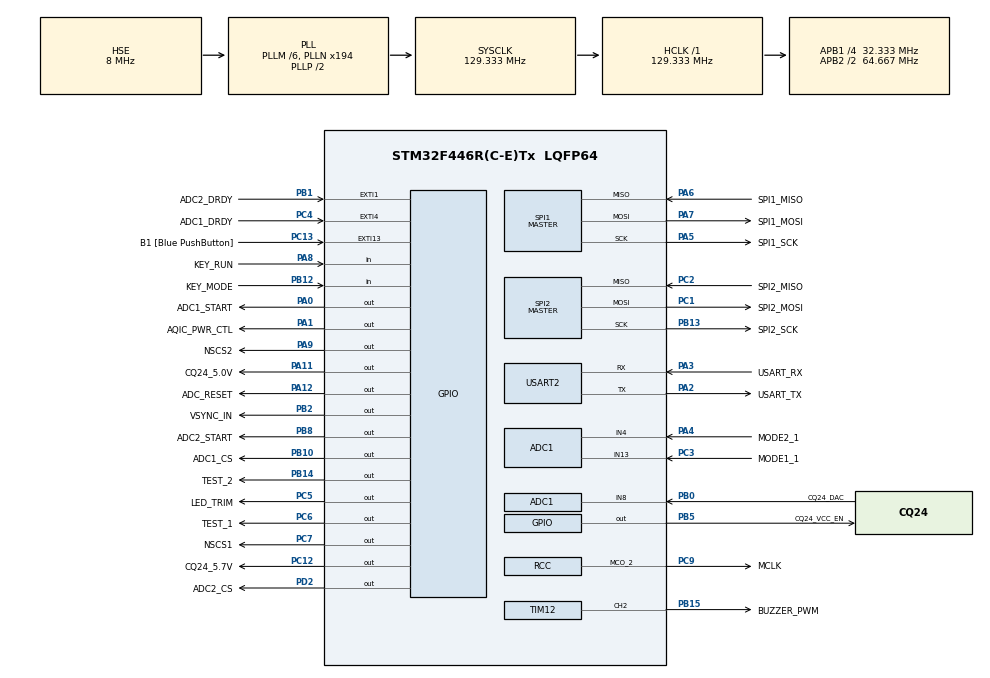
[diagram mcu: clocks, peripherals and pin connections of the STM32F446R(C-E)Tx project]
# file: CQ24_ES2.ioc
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ADC1.Channel-0\#ChannelRegularConversion=ADC_CHANNEL_13
ADC1.Channel-1\#ChannelRegularConversion=ADC_CHANNEL_8
ADC1.Channel-3\#ChannelRegularConversion=ADC_CHANNEL_4
ADC1.NbrOfConversion=3
ADC1.NbrOfConversionFlag=1
ADC1.Rank-0\#ChannelRegularConversion=1
ADC1.Rank-1\#ChannelRegularConversion=2
ADC1.Rank-3\#ChannelRegularConversion=3
ADC1.SamplingTime-0\#ChannelRegularConversion=ADC_SAMPLETIME_3CYCLES
ADC1.SamplingTime-1\#ChannelRegularConversion=ADC_SAMPLETIME_3CYCLES
ADC1.SamplingTime-3\#ChannelRegularConversion=ADC_SAMPLETIME_3CYCLES
ADC1.ScanConvMode=ENABLE
ADC1.master=1
Dma.ADC1.0.Direction=DMA_PERIPH_TO_MEMORY
Dma.ADC1.0.FIFOMode=DMA_FIFOMODE_DISABLE
Dma.ADC1.0.Instance=DMA2_Stream0
Dma.ADC1.0.MemDataAlignment=DMA_MDATAALIGN_HALFWORD
Dma.ADC1.0.MemInc=DMA_MINC_ENABLE
Dma.ADC1.0.Mode=DMA_NORMAL
Dma.ADC1.0.PeriphDataAlignment=DMA_PDATAALIGN_HALFWORD
Dma.ADC1.0.PeriphInc=DMA_PINC_DISABLE
Dma.ADC1.0.Priority=DMA_PRIORITY_LOW
Dma.Request0=ADC1
FREERTOS.INCLUDE_vTaskDelayUntil=1
FREERTOS.Queues01=queue_key_event,16,uint16_t,0,Dynamic,NULL,NULL
FREERTOS.Tasks01=JIG_MAIN,0,512,JigTaskMainTask,Default,NULL,Dynamic,NULL,NULL;KeyDetectTask,-2,128,KeyDetector,Default,NULL,Dynamic,NULL,NULL;KeyHandlerTask,-2,128,KeyHandler,Default,NULL,Dynamic,NULL,NULL;myTaskDebugUart,-2,512,TaskDebugUart,Default,NULL,Dynamic,NULL,NULL
FREERTOS.Timers01=BeepPlayTimer,TimerCallback,osTimerPeriodic,Default,&gt_beep_info,Dynamic,NULL
FREERTOS.configENABLE_FPU=1
FREERTOS.configUSE_TIMERS=1
Mcu.Family=STM32F4
Mcu.Name=STM32F446R(C-E)Tx
Mcu.Package=LQFP64
NVIC.DMA2_Stream0_IRQn=true\:5\:0\:false\:false\:true\:true\:false\:true\:true
NVIC.EXTI15_10_IRQn=true\:5\:0\:false\:false\:true\:true\:true\:true\:true
NVIC.EXTI1_IRQn=true\:5\:0\:false\:false\:true\:true\:true\:true\:true
NVIC.EXTI4_IRQn=true\:5\:0\:false\:false\:true\:true\:true\:true\:true
NVIC.PriorityGroup=NVIC_PRIORITYGROUP_4
NVIC.TIM1_UP_TIM10_IRQn=true\:0\:0\:false\:false\:true\:false\:false\:true\:true
NVIC.TIM2_IRQn=true\:5\:0\:false\:false\:true\:true\:true\:true\:true
NVIC.TIM5_IRQn=true\:5\:0\:false\:false\:true\:true\:true\:true\:true
NVIC.TimeBase=TIM1_UP_TIM10_IRQn
NVIC.TimeBaseIP=TIM1
NVIC.USART2_IRQn=true\:5\:0\:false\:false\:true\:true\:true\:true\:true
PA0-WKUP.GPIO_Label=ADC1_START
PA0-WKUP.Signal=GPIO_Output
PA1.GPIO_Label=AQIC_PWR_CTL
PA1.GPIO_PuPd=GPIO_PULLDOWN
PA1.PinState=GPIO_PIN_RESET
PA1.Signal=GPIO_Output
PA11.GPIO_Label=CQ24_5.0V
PA11.GPIO_PuPd=GPIO_NOPULL
PA11.Signal=GPIO_Output
PA12.GPIO_Label=ADC_RESET
PA12.PinState=GPIO_PIN_SET
PA12.Signal=GPIO_Output
PA13.GPIO_Label=TMS
PA13.Mode=Serial_Wire
PA13.Signal=SYS_JTMS-SWDIO
PA14.GPIO_Label=TCK
PA14.Mode=Serial_Wire
PA14.Signal=SYS_JTCK-SWCLK
PA2.GPIO_Label=USART_TX
PA2.Mode=Asynchronous
PA2.Signal=USART2_TX
PA3.GPIO_Label=USART_RX
PA3.Mode=Asynchronous
PA3.Signal=USART2_RX
PA4.GPIO_Label=MODE2_1
PA4.Signal=ADCx_IN4
PA5.GPIO_Label=SPI1_SCK
PA5.Mode=Full_Duplex_Master
PA5.Signal=SPI1_SCK
PA6.GPIO_Label=SPI1_MISO
PA6.Mode=Full_Duplex_Master
PA6.Signal=SPI1_MISO
PA7.GPIO_Label=SPI1_MOSI
PA7.Mode=Full_Duplex_Master
PA7.Signal=SPI1_MOSI
PA8.GPIO_Label=KEY_RUN
PA8.Signal=GPIO_Input
PA9.GPIO_Label=NSCS2
PA9.PinState=GPIO_PIN_SET
PA9.Signal=GPIO_Output
PB0.GPIO_Label=CQ24_DAC
PB0.Signal=ADCx_IN8
PB1.GPIO_Label=ADC2_DRDY
PB1.GPIO_ModeDefaultEXTI=GPIO_MODE_IT_FALLING
PB1.Signal=GPXTI1
PB10.GPIO_Label=ADC1_CS
PB10.PinState=GPIO_PIN_SET
PB10.Signal=GPIO_Output
PB12.GPIO_Label=KEY_MODE
PB12.Signal=GPIO_Input
PB13.GPIO_Label=SPI2_SCK
PB13.Mode=Full_Duplex_Master
PB13.Signal=SPI2_SCK
PB14.GPIO_Label=TEST_2
PB14.Signal=GPIO_Output
PB15.GPIO_Label=BUZZER_PWM
PB15.Signal=S_TIM12_CH2
PB2.GPIO_Label=VSYNC_IN
PB2.Signal=GPIO_Output
PB3.GPIO_Label=SWO
PB3.Signal=SYS_JTDO-SWO
PB5.GPIO_Label=CQ24_VCC_EN
PB5.GPIO_PuPd=GPIO_NOPULL
PB5.PinState=GPIO_PIN_SET
PB5.Signal=GPIO_Output
PB8.GPIO_Label=ADC2_START
PB8.Signal=GPIO_Output
PC1.GPIO_Label=SPI2_MOSI
PC1.Mode=Full_Duplex_Master
PC1.Signal=SPI2_MOSI
PC12.GPIO_Label=CQ24_5.7V
PC12.GPIO_PuPd=GPIO_NOPULL
PC12.Signal=GPIO_Output
PC13.GPIO_Label=B1 [Blue PushButton]
PC13.GPIO_ModeDefaultEXTI=GPIO_MODE_IT_FALLING
PC13.Signal=GPXTI13
PC14-OSC32_IN.Mode=LSE-External-Oscillator
PC14-OSC32_IN.Signal=RCC_OSC32_IN
PC15-OSC32_OUT.Mode=LSE-External-Oscillator
PC15-OSC32_OUT.Signal=RCC_OSC32_OUT
PC2.GPIO_Label=SPI2_MISO
PC2.Mode=Full_Duplex_Master
PC2.Signal=SPI2_MISO
PC3.GPIO_Label=MODE1_1
PC3.Signal=ADCx_IN13
PC4.GPIO_Label=ADC1_DRDY
PC4.GPIO_ModeDefaultEXTI=GPIO_MODE_IT_FALLING
PC4.Signal=GPXTI4
PC5.GPIO_Label=LED_TRIM
PC5.Signal=GPIO_Output
PC6.GPIO_Label=TEST_1
PC6.Signal=GPIO_Output
PC7.GPIO_Label=NSCS1
PC7.PinState=GPIO_PIN_SET
PC7.Signal=GPIO_Output
PC9.GPIO_Label=MCLK
PC9.Mode=Clock-out-2
PC9.Signal=RCC_MCO_2
PD2.GPIO_Label=ADC2_CS
PD2.PinState=GPIO_PIN_SET
PD2.Signal=GPIO_Output
PH0-OSC_IN.Mode=HSE-External-Oscillator
PH0-OSC_IN.Signal=RCC_OSC_IN
PH1-OSC_OUT.Mode=HSE-External-Oscillator
PH1-OSC_OUT.Signal=RCC_OSC_OUT
ProjectManager.HeapSize=0x200
ProjectManager.StackSize=0x400
ProjectManager.TargetToolchain=EWARM V8.50
RCC.48MHZClocksFreq_Value=84000000
RCC.AHBFreq_Value=129333333.33333333
RCC.APB1CLKDivider=RCC_HCLK_DIV4
RCC.APB1Freq_Value=32333333.333333332
RCC.APB1TimFreq_Value=64666666.666666664
RCC.APB2CLKDivider=RCC_HCLK_DIV2
RCC.APB2Freq_Value=64666666.666666664
RCC.APB2TimFreq_Value=129333333.33333333
RCC.CortexFreq_Value=129333333.33333333
RCC.FLatency-AdvancedSettings=FLASH_LATENCY_4
RCC.HCLKFreq_Value=129333333.33333333
RCC.HSE_VALUE=8000000
RCC.HSI_VALUE=16000000
RCC.PLLI2SM=6
RCC.PLLI2SN=194
RCC.PLLI2SR=4
RCC.PLLM=6
RCC.PLLN=194
RCC.PLLR=4
RCC.PLLSourceVirtual=RCC_PLLSOURCE_HSE
RCC.PWREXT_OverDrive=PWREXT_OverDrive_ACTIVATED
RCC.PWR_Regulator_Voltage_Scale=PWR_REGULATOR_VOLTAGE_SCALE1
RCC.RCC_MCO2Source=RCC_MCO2SOURCE_PLLI2SCLK
RCC.RCC_MCODiv2=RCC_MCODIV_4
RCC.SYSCLKFreq_VALUE=129333333.33333333
RCC.SYSCLKSource=RCC_SYSCLKSOURCE_PLLCLK
RCC.USBFreq_Value=129333333.33333333
RCC.VCOOutputFreq_Value=258666666.66666666
SH.ADCx_IN13.0=ADC1_IN13,IN13
SH.ADCx_IN4.0=ADC1_IN4,IN4
SH.ADCx_IN8.0=ADC1_IN8,IN8
SH.S_TIM12_CH2.0=TIM12_CH2,PWM Generation2 CH2
SPI1.BaudRatePrescaler=SPI_BAUDRATEPRESCALER_4
SPI1.CLKPhase=SPI_PHASE_2EDGE
SPI1.CalculateBaudRate=16.166666 MBits/s
SPI1.DataSize=SPI_DATASIZE_8BIT
SPI1.Direction=SPI_DIRECTION_2LINES
SPI1.Mode=SPI_MODE_MASTER
SPI1.VirtualType=VM_MASTER
SPI2.BaudRatePrescaler=SPI_BAUDRATEPRESCALER_2
SPI2.CLKPhase=SPI_PHASE_2EDGE
SPI2.CalculateBaudRate=16.166666 MBits/s
SPI2.DataSize=SPI_DATASIZE_16BIT
SPI2.Direction=SPI_DIRECTION_2LINES
SPI2.Mode=SPI_MODE_MASTER
SPI2.VirtualType=VM_MASTER
TIM12.Channel-PWM\ Generation2\ CH2=TIM_CHANNEL_2
TIM12.Period=3866
TIM12.Prescaler=89
TIM12.Pulse-PWM\ Generation2\ CH2=1933
TIM2.AutoReloadPreload=TIM_AUTORELOAD_PRELOAD_ENABLE
TIM2.CounterMode=TIM_COUNTERMODE_DOWN
TIM2.Period=646666
TIM2.Prescaler=0
TIM5.AutoReloadPreload=TIM_AUTORELOAD_PRELOAD_ENABLE
TIM5.Period=646
TIM5.Prescaler=0
USART2.VirtualMode=VM_ASYNC
VP_FREERTOS_VS_CMSIS_V1.Mode=CMSIS_V1
VP_SYS_VS_tim1.Mode=TIM1
VP_TIM12_VS_ClockSourceINT.Mode=Internal
VP_TIM2_VS_ClockSourceINT.Mode=Internal
VP_TIM4_VS_ClockSourceINT.Mode=Internal
VP_TIM5_VS_ClockSourceINT.Mode=Internal
board=NUCLEO-F446RE

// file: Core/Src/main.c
/* USER CODE BEGIN Header */
/**
  ******************************************************************************
  * @file           : main.c
  * @brief          : Main program body
  ******************************************************************************
  * @attention
  *
  * Copyright (c) 2023 STMicroelectronics.
  * All rights reserved.
  *
  * This software is licensed under terms that can be found in the LICENSE file
  * in the root directory of this software component.
  * If no LICENSE file comes with this software, it is provided AS-IS.
  *
  ******************************************************************************
  */
/* USER CODE END Header */
#include "main.h"
#include "cmsis_os.h"

/* USER CODE BEGIN Includes */
#include <stdio.h>
#include "common.h"
#include "cqic_test.h"
#include "log.h"
#include "user_flash.h"
#include "fnd.h"
#include "ADS124S08.h"
#include "cqic.h"

#include "my_i2c.h"
#include "trimming.h"
//#include "type.h"

/* USER CODE END Includes */

ADC_HandleTypeDef hadc1;
DMA_HandleTypeDef hdma_adc1;

SPI_HandleTypeDef hspi1;
SPI_HandleTypeDef hspi2;

TIM_HandleTypeDef htim2;
TIM_HandleTypeDef htim4;
TIM_HandleTypeDef htim5;
TIM_HandleTypeDef htim12;

UART_HandleTypeDef huart2;

osThreadId JIG_MAINHandle;
osThreadId KeyDetectTaskHandle;
osThreadId KeyHandlerTaskHandle;
osThreadId myTaskDebugUartHandle;
osMessageQId queue_key_eventHandle;
osTimerId BeepPlayTimerHandle;
/* USER CODE BEGIN PV */

//osMessageQId Queue_Handle;
//osPoolId Pool_ID;
#define UART_CMD_LENGTH     60
typedef struct {
    uint8_t len;
    uint8_t param[UART_CMD_LENGTH];
}MessageQ;

static uint8_t gn_uart_msg_queue_index;
static MessageQ gt_uart_queue[16];
static MessageQ* gp_uart_queue;

QueueHandle_t xQueue = NULL;

/* USER CODE END PV */

void SystemClock_Config(void);
void PeriphCommonClock_Config(void);
static void MX_GPIO_Init(void);
static void MX_DMA_Init(void);
static void MX_ADC1_Init(void);
static void MX_USART2_UART_Init(void);
static void MX_SPI1_Init(void);
static void MX_SPI2_Init(void);
static void MX_TIM2_Init(void);
static void MX_TIM4_Init(void);
static void MX_TIM5_Init(void);
static void MX_TIM12_Init(void);
void JigTaskMainTask(void const * argument);
void KeyDetector(void const * argument);
void KeyHandler(void const * argument);
void TaskDebugUart(void const * argument);
void TimerCallback(void const * argument);

/* USER CODE BEGIN PFP */
void PlayBeep(beep_freq_t t_type, uint16_t n_time);
void dac_set_voltage(float f_voltage, uint8_t ch);

extern void set_ok_led(uint8_t en);
extern void cqic_init(void);
extern void cqic_trim_data_to_otp(void);

uint8_t trimming_stage = 0;

volatile uint8_t vcc_delay = 0;
/* USER CODE END PFP */

/* USER CODE BEGIN 0 */
static power_state_t gt_power_state;
auto_manual_t gt_auto_manual_state;
extern test_mode_t gt_jig_test_mode;
extern cqic_test_step_t gt_jig_trimming_step;
extern uint16_t gt_cqic_test_step;
extern uint8_t cqic_test_mode;
extern volatile uint16_t gt_jig_check_vsync;

typedef struct _beep_info_
{
    beep_freq_t t_beep_type;
    beep_play_t t_play_step;
    uint16_t n_beep_count;
}beep_into_t;

static beep_into_t gt_beep_info;
static uint32_t gn_beep_freq_tim12_period[BEEP_MAX] =
{
    tim12_c4_arr,
    tim12_d4_arr,
    tim12_e4_arr,
    tim12_f4_arr,
    tim12_g4_arr,
    tim12_a4_arr,
    tim12_b4_arr,
    tim12_c5_arr,
};

static uint8_t gn_debug_rx_data[1];
uint8_t gn_cqic_test_type;      /* 0 : normal test, 1 : 1 : trimming */

void PlayBeep(beep_freq_t t_type, uint16_t n_time)
{

#if 1
    //snprintf(msg_buffer, sizeof msg_buffer, "===> PlayBeep()... %u %u => %u %u %u \r\n", t_type, n_time, gt_beep_info.t_beep_type, gt_beep_info.t_play_step, gt_beep_info.n_beep_count);
    //print(msg_buffer);

    if(gt_beep_info.t_play_step == BEEP_PLAYING || gt_beep_info.t_play_step == BEEP_NG_PLAYING)
    {
        HAL_TIM_PWM_Stop(&htim12, TIM_CHANNEL_2);
        osTimerStop(BeepPlayTimerHandle);
    }
#endif
    gt_beep_info.t_beep_type = t_type;

    if(KEY_TEST_NG_BEEP == t_type)
    {
        gt_beep_info.t_play_step = BEEP_NG_START;
    }
    else
    {
        gt_beep_info.t_play_step = BEEP_START;
    }
    gt_beep_info.n_beep_count = n_time;

    osTimerStart(BeepPlayTimerHandle, 1);
}

void dac_set_voltage(float f_voltage, uint8_t ch)
{
	return;
}

void GT_TIM5_Callback(void)
{
	HAL_TIM_Base_Stop_IT(&htim5);
	VSYNC_OUT_LO();
}

void GT_TIM2_Callback(void)
{
	HAL_TIM_Base_Start_IT(&htim5);
	VSYNC_OUT_HI();
	gt_jig_check_vsync = 1;
}

void cq_set_mclk_cs_float(void)
{
    GPIO_InitTypeDef GPIO_InitStruct = {0};

    /*Configure GPIO pin : MCLK_Pin */
    GPIO_InitStruct.Pin = MCLK_Pin;
    GPIO_InitStruct.Mode = GPIO_MODE_INPUT;
    GPIO_InitStruct.Pull = GPIO_NOPULL;
    GPIO_InitStruct.Speed = GPIO_SPEED_FREQ_LOW;
    HAL_GPIO_Init(MCLK_GPIO_Port, &GPIO_InitStruct);

    HAL_GPIO_WritePin(NSCS1_GPIO_Port, NSCS1_Pin, GPIO_PIN_RESET);
}

/* USER CODE END 0 */

int main(void)
{

  /* MCU Configuration--------------------------------------------------------*/

  /* Reset of all peripherals, Initializes the Flash interface and the Systick. */
  HAL_Init();

  /* Configure the system clock */
  SystemClock_Config();

  /* Configure the peripherals common clocks */
  PeriphCommonClock_Config();

  /* Initialize all configured peripherals */
  MX_GPIO_Init();
  MX_DMA_Init();
  MX_ADC1_Init();
  MX_USART2_UART_Init();
  MX_SPI1_Init();
  MX_SPI2_Init();
  MX_TIM2_Init();
  MX_TIM4_Init();
  MX_TIM5_Init();
  MX_TIM12_Init();
  /* USER CODE BEGIN 2 */

  print("\r\nstart CQ24 TRIMMING_JIG application....\r\n");

  snprintf(msg_buffer, sizeof msg_buffer, "\r\nBuild time : %s / %s\r\n", __DATE__, __TIME__ );
  print(msg_buffer);

  HAL_TIM_Base_Stop_IT(&htim5); /* vsync_out hold timer */

#ifdef EXTERNAL_CLK_DEF	/* for external clock */
  HAL_TIM_Base_Stop_IT(&htim2);	/* vsync_out timer */
#else
  HAL_TIM_Base_Start_IT(&htim2);	/* vsync_out timer */
#endif

	// HAL_TIM_Base_Start_IT(&htim2);	/* vsync_out timer */ Function TEST

  ads114s08_set_reset(ADC_CS_ALL);
  HAL_Delay(2);   /* Delay time : 1ms[4096tCLK(tCLK = 1 / fCLK(4.096MHz)], first SCLK rising edge after RESET rising edge (or 7th SCLK falling edge of RESET command) */
  ads114s08_init();

  //cqic_init();	/* cqic init */
    cq_set_mclk_cs_float();

	set_cqic_5_0V_on();
    vcc_delay = 10;

#if 1
  HAL_UART_Receive_IT(&huart2, gn_debug_rx_data, 1);
  HAL_TIM_Base_Start(&htim4);
#endif

  gt_cqic_test_step = TEST_STEP_NONE;
  gt_power_state = PWR_OFF;

  /* USER CODE END 2 */

  /* Create the timer(s) */
  /* definition and creation of BeepPlayTimer */
  osTimerDef(BeepPlayTimer, TimerCallback);
  BeepPlayTimerHandle = osTimerCreate(osTimer(BeepPlayTimer), osTimerPeriodic, (void*) &gt_beep_info);

  /* Create the queue(s) */
  /* definition and creation of queue_key_event */
  osMessageQDef(queue_key_event, 16, uint16_t);
  queue_key_eventHandle = osMessageCreate(osMessageQ(queue_key_event), NULL);

  /* USER CODE BEGIN RTOS_QUEUES */
  xQueue = xQueueCreate( 10, sizeof(MessageQ *));
  /* add queues, ... */
  /* USER CODE END RTOS_QUEUES */

  /* Create the thread(s) */
  /* definition and creation of JIG_MAIN */
  osThreadDef(JIG_MAIN, JigTaskMainTask, osPriorityNormal, 0, 512);
  JIG_MAINHandle = osThreadCreate(osThread(JIG_MAIN), NULL);

  /* definition and creation of KeyDetectTask */
  osThreadDef(KeyDetectTask, KeyDetector, osPriorityLow, 0, 128);
  KeyDetectTaskHandle = osThreadCreate(osThread(KeyDetectTask), NULL);

  /* definition and creation of KeyHandlerTask */
  osThreadDef(KeyHandlerTask, KeyHandler, osPriorityLow, 0, 128);
  KeyHandlerTaskHandle = osThreadCreate(osThread(KeyHandlerTask), NULL);

  /* definition and creation of myTaskDebugUart */
  osThreadDef(myTaskDebugUart, TaskDebugUart, osPriorityLow, 0, 512);
  myTaskDebugUartHandle = osThreadCreate(osThread(myTaskDebugUart), NULL);

  /* Start scheduler */
  osKernelStart();

  /* We should never get here as control is now taken by the scheduler */

  /* Infinite loop */
  /* USER CODE BEGIN WHILE */
  HAL_Delay(300);

  /* for UI I/F*/
  snprintf(msg_buffer, sizeof msg_buffer, "Build time : %s / %s\r\n", __DATE__, __TIME__ );
  print(msg_buffer);

  while (1)
  {
    /* USER CODE END WHILE */

  }
}

void SystemClock_Config(void)
{
  RCC_OscInitTypeDef RCC_OscInitStruct = {0};
  RCC_ClkInitTypeDef RCC_ClkInitStruct = {0};

  /** Configure the main internal regulator output voltage
  */
  __HAL_RCC_PWR_CLK_ENABLE();
  __HAL_PWR_VOLTAGESCALING_CONFIG(PWR_REGULATOR_VOLTAGE_SCALE1);

  /** Initializes the RCC Oscillators according to the specified parameters
  * in the RCC_OscInitTypeDef structure.
  */
  RCC_OscInitStruct.OscillatorType = RCC_OSCILLATORTYPE_HSE;
  RCC_OscInitStruct.HSEState = RCC_HSE_ON;
  RCC_OscInitStruct.HSIState = RCC_HSI_ON;
  RCC_OscInitStruct.HSICalibrationValue = RCC_HSICALIBRATION_DEFAULT;
  RCC_OscInitStruct.PLL.PLLState = RCC_PLL_ON;
  RCC_OscInitStruct.PLL.PLLSource = RCC_PLLSOURCE_HSE;
  RCC_OscInitStruct.PLL.PLLM = 6;
  RCC_OscInitStruct.PLL.PLLN = 194;
  RCC_OscInitStruct.PLL.PLLP = RCC_PLLP_DIV2;
  RCC_OscInitStruct.PLL.PLLQ = 2;
  RCC_OscInitStruct.PLL.PLLR = 4;
  if (HAL_RCC_OscConfig(&RCC_OscInitStruct) != HAL_OK)
  {
    Error_Handler();
  }

  /** Activate the Over-Drive mode
  */
  if (HAL_PWREx_EnableOverDrive() != HAL_OK)
  {
    Error_Handler();
  }

  /** Initializes the CPU, AHB and APB buses clocks
  */
  RCC_ClkInitStruct.ClockType = RCC_CLOCKTYPE_HCLK|RCC_CLOCKTYPE_SYSCLK
                              |RCC_CLOCKTYPE_PCLK1|RCC_CLOCKTYPE_PCLK2;
  RCC_ClkInitStruct.SYSCLKSource = RCC_SYSCLKSOURCE_PLLCLK;
  RCC_ClkInitStruct.AHBCLKDivider = RCC_SYSCLK_DIV1;
  RCC_ClkInitStruct.APB1CLKDivider = RCC_HCLK_DIV4;
  RCC_ClkInitStruct.APB2CLKDivider = RCC_HCLK_DIV2;

  if (HAL_RCC_ClockConfig(&RCC_ClkInitStruct, FLASH_LATENCY_4) != HAL_OK)
  {
    Error_Handler();
  }
  HAL_RCC_MCOConfig(RCC_MCO2, RCC_MCO2SOURCE_PLLI2SCLK, RCC_MCODIV_4);
}

void PeriphCommonClock_Config(void)
{
  RCC_PeriphCLKInitTypeDef PeriphClkInitStruct = {0};

  /** Initializes the peripherals clock
  */
  PeriphClkInitStruct.PeriphClockSelection = RCC_PERIPHCLK_PLLI2S;
  PeriphClkInitStruct.PLLI2S.PLLI2SN = 194;
  PeriphClkInitStruct.PLLI2S.PLLI2SP = RCC_PLLI2SP_DIV2;
  PeriphClkInitStruct.PLLI2S.PLLI2SM = 6;
  PeriphClkInitStruct.PLLI2S.PLLI2SR = 4;
  PeriphClkInitStruct.PLLI2S.PLLI2SQ = 2;
  PeriphClkInitStruct.PLLI2SDivQ = 1;
  if (HAL_RCCEx_PeriphCLKConfig(&PeriphClkInitStruct) != HAL_OK)
  {
    Error_Handler();
  }
}

static void MX_ADC1_Init(void)
{

  ADC_ChannelConfTypeDef sConfig = {0};

  /** Configure the global features of the ADC (Clock, Resolution, Data Alignment and number of conversion)
  */
  hadc1.Instance = ADC1;
  hadc1.Init.ClockPrescaler = ADC_CLOCK_SYNC_PCLK_DIV2;
  hadc1.Init.Resolution = ADC_RESOLUTION_12B;
  hadc1.Init.ScanConvMode = ENABLE;
  hadc1.Init.ContinuousConvMode = DISABLE;
  hadc1.Init.DiscontinuousConvMode = DISABLE;
  hadc1.Init.ExternalTrigConvEdge = ADC_EXTERNALTRIGCONVEDGE_NONE;
  hadc1.Init.ExternalTrigConv = ADC_SOFTWARE_START;
  hadc1.Init.DataAlign = ADC_DATAALIGN_RIGHT;
  hadc1.Init.NbrOfConversion = 3;
  hadc1.Init.DMAContinuousRequests = DISABLE;
  hadc1.Init.EOCSelection = ADC_EOC_SINGLE_CONV;
  if (HAL_ADC_Init(&hadc1) != HAL_OK)
  {
    Error_Handler();
  }

  /** Configure for the selected ADC regular channel its corresponding rank in the sequencer and its sample time.
  */
  sConfig.Channel = ADC_CHANNEL_13;
  sConfig.Rank = 1;
  sConfig.SamplingTime = ADC_SAMPLETIME_3CYCLES;
  if (HAL_ADC_ConfigChannel(&hadc1, &sConfig) != HAL_OK)
  {
    Error_Handler();
  }

  /** Configure for the selected ADC regular channel its corresponding rank in the sequencer and its sample time.
  */
  sConfig.Channel = ADC_CHANNEL_8;
  sConfig.Rank = 2;
  if (HAL_ADC_ConfigChannel(&hadc1, &sConfig) != HAL_OK)
  {
    Error_Handler();
  }

  /** Configure for the selected ADC regular channel its corresponding rank in the sequencer and its sample time.
  */
  sConfig.Channel = ADC_CHANNEL_4;
  sConfig.Rank = 3;
  if (HAL_ADC_ConfigChannel(&hadc1, &sConfig) != HAL_OK)
  {
    Error_Handler();
  }

}

static void MX_SPI1_Init(void)
{

  /* SPI1 parameter configuration*/
  hspi1.Instance = SPI1;
  hspi1.Init.Mode = SPI_MODE_MASTER;
  hspi1.Init.Direction = SPI_DIRECTION_2LINES;
  hspi1.Init.DataSize = SPI_DATASIZE_8BIT;
  hspi1.Init.CLKPolarity = SPI_POLARITY_LOW;
  hspi1.Init.CLKPhase = SPI_PHASE_2EDGE;
  hspi1.Init.NSS = SPI_NSS_SOFT;
  hspi1.Init.BaudRatePrescaler = SPI_BAUDRATEPRESCALER_4;
  hspi1.Init.FirstBit = SPI_FIRSTBIT_MSB;
  hspi1.Init.TIMode = SPI_TIMODE_DISABLE;
  hspi1.Init.CRCCalculation = SPI_CRCCALCULATION_DISABLE;
  hspi1.Init.CRCPolynomial = 10;
  if (HAL_SPI_Init(&hspi1) != HAL_OK)
  {
    Error_Handler();
  }

}

static void MX_SPI2_Init(void)
{

  /* SPI2 parameter configuration*/
  hspi2.Instance = SPI2;
  hspi2.Init.Mode = SPI_MODE_MASTER;
  hspi2.Init.Direction = SPI_DIRECTION_2LINES;
  hspi2.Init.DataSize = SPI_DATASIZE_16BIT;
  hspi2.Init.CLKPolarity = SPI_POLARITY_LOW;
  hspi2.Init.CLKPhase = SPI_PHASE_2EDGE;
  hspi2.Init.NSS = SPI_NSS_SOFT;
  hspi2.Init.BaudRatePrescaler = SPI_BAUDRATEPRESCALER_2;
  hspi2.Init.FirstBit = SPI_FIRSTBIT_MSB;
  hspi2.Init.TIMode = SPI_TIMODE_DISABLE;
  hspi2.Init.CRCCalculation = SPI_CRCCALCULATION_DISABLE;
  hspi2.Init.CRCPolynomial = 10;
  if (HAL_SPI_Init(&hspi2) != HAL_OK)
  {
    Error_Handler();
  }

}

static void MX_TIM2_Init(void)
{

  TIM_ClockConfigTypeDef sClockSourceConfig = {0};
  TIM_MasterConfigTypeDef sMasterConfig = {0};

  htim2.Instance = TIM2;
  htim2.Init.Prescaler = 0;
  htim2.Init.CounterMode = TIM_COUNTERMODE_DOWN;
  htim2.Init.Period = 538888;//646666;
  htim2.Init.ClockDivision = TIM_CLOCKDIVISION_DIV1;
  htim2.Init.AutoReloadPreload = TIM_AUTORELOAD_PRELOAD_ENABLE;
  if (HAL_TIM_Base_Init(&htim2) != HAL_OK)
  {
    Error_Handler();
  }
  sClockSourceConfig.ClockSource = TIM_CLOCKSOURCE_INTERNAL;
  if (HAL_TIM_ConfigClockSource(&htim2, &sClockSourceConfig) != HAL_OK)
  {
    Error_Handler();
  }
  sMasterConfig.MasterOutputTrigger = TIM_TRGO_RESET;
  sMasterConfig.MasterSlaveMode = TIM_MASTERSLAVEMODE_DISABLE;
  if (HAL_TIMEx_MasterConfigSynchronization(&htim2, &sMasterConfig) != HAL_OK)
  {
    Error_Handler();
  }

}

static void MX_TIM4_Init(void)
{

  TIM_ClockConfigTypeDef sClockSourceConfig = {0};
  TIM_MasterConfigTypeDef sMasterConfig = {0};

  htim4.Instance = TIM4;
  htim4.Init.Prescaler = 0;
  htim4.Init.CounterMode = TIM_COUNTERMODE_UP;
  htim4.Init.Period = 65535;
  htim4.Init.ClockDivision = TIM_CLOCKDIVISION_DIV1;
  htim4.Init.AutoReloadPreload = TIM_AUTORELOAD_PRELOAD_DISABLE;
  if (HAL_TIM_Base_Init(&htim4) != HAL_OK)
  {
    Error_Handler();
  }
  sClockSourceConfig.ClockSource = TIM_CLOCKSOURCE_INTERNAL;
  if (HAL_TIM_ConfigClockSource(&htim4, &sClockSourceConfig) != HAL_OK)
  {
    Error_Handler();
  }
  sMasterConfig.MasterOutputTrigger = TIM_TRGO_RESET;
  sMasterConfig.MasterSlaveMode = TIM_MASTERSLAVEMODE_DISABLE;
  if (HAL_TIMEx_MasterConfigSynchronization(&htim4, &sMasterConfig) != HAL_OK)
  {
    Error_Handler();
  }

}

static void MX_TIM5_Init(void)
{

  TIM_ClockConfigTypeDef sClockSourceConfig = {0};
  TIM_MasterConfigTypeDef sMasterConfig = {0};

  htim5.Instance = TIM5;
  htim5.Init.Prescaler = 0;
  htim5.Init.CounterMode = TIM_COUNTERMODE_UP;
  htim5.Init.Period = 646;
  htim5.Init.ClockDivision = TIM_CLOCKDIVISION_DIV1;
  htim5.Init.AutoReloadPreload = TIM_AUTORELOAD_PRELOAD_ENABLE;
  if (HAL_TIM_Base_Init(&htim5) != HAL_OK)
  {
    Error_Handler();
  }
  sClockSourceConfig.ClockSource = TIM_CLOCKSOURCE_INTERNAL;
  if (HAL_TIM_ConfigClockSource(&htim5, &sClockSourceConfig) != HAL_OK)
  {
    Error_Handler();
  }
  sMasterConfig.MasterOutputTrigger = TIM_TRGO_RESET;
  sMasterConfig.MasterSlaveMode = TIM_MASTERSLAVEMODE_DISABLE;
  if (HAL_TIMEx_MasterConfigSynchronization(&htim5, &sMasterConfig) != HAL_OK)
  {
    Error_Handler();
  }

}

static void MX_TIM12_Init(void)
{

  TIM_ClockConfigTypeDef sClockSourceConfig = {0};
  TIM_OC_InitTypeDef sConfigOC = {0};

  htim12.Instance = TIM12;
  htim12.Init.Prescaler = 89;
  htim12.Init.CounterMode = TIM_COUNTERMODE_UP;
  htim12.Init.Period = 3866;
  htim12.Init.ClockDivision = TIM_CLOCKDIVISION_DIV1;
  htim12.Init.AutoReloadPreload = TIM_AUTORELOAD_PRELOAD_DISABLE;
  if (HAL_TIM_Base_Init(&htim12) != HAL_OK)
  {
    Error_Handler();
  }
  sClockSourceConfig.ClockSource = TIM_CLOCKSOURCE_INTERNAL;
  if (HAL_TIM_ConfigClockSource(&htim12, &sClockSourceConfig) != HAL_OK)
  {
    Error_Handler();
  }
  if (HAL_TIM_PWM_Init(&htim12) != HAL_OK)
  {
    Error_Handler();
  }
  sConfigOC.OCMode = TIM_OCMODE_PWM1;
  sConfigOC.Pulse = 1933;
  sConfigOC.OCPolarity = TIM_OCPOLARITY_HIGH;
  sConfigOC.OCFastMode = TIM_OCFAST_DISABLE;
  if (HAL_TIM_PWM_ConfigChannel(&htim12, &sConfigOC, TIM_CHANNEL_2) != HAL_OK)
  {
    Error_Handler();
  }
  HAL_TIM_MspPostInit(&htim12);
}

static void MX_USART2_UART_Init(void)
{

  huart2.Instance = USART2;
  huart2.Init.BaudRate = 115200;
  huart2.Init.WordLength = UART_WORDLENGTH_8B;
  huart2.Init.StopBits = UART_STOPBITS_1;
  huart2.Init.Parity = UART_PARITY_NONE;
  huart2.Init.Mode = UART_MODE_TX_RX;
  huart2.Init.HwFlowCtl = UART_HWCONTROL_NONE;
  huart2.Init.OverSampling = UART_OVERSAMPLING_16;
  if (HAL_UART_Init(&huart2) != HAL_OK)
  {
    Error_Handler();
  }

}

static void MX_DMA_Init(void)
{

  /* DMA controller clock enable */
  __HAL_RCC_DMA2_CLK_ENABLE();

  /* DMA interrupt init */
  /* DMA2_Stream0_IRQn interrupt configuration */
  HAL_NVIC_SetPriority(DMA2_Stream0_IRQn, 5, 0);
  HAL_NVIC_EnableIRQ(DMA2_Stream0_IRQn);

}

static void MX_GPIO_Init(void)
{
  GPIO_InitTypeDef GPIO_InitStruct = {0};

  /* GPIO Ports Clock Enable */
  __HAL_RCC_GPIOC_CLK_ENABLE();
  __HAL_RCC_GPIOH_CLK_ENABLE();
  __HAL_RCC_GPIOA_CLK_ENABLE();
  __HAL_RCC_GPIOB_CLK_ENABLE();
  __HAL_RCC_GPIOD_CLK_ENABLE();

  /*Configure GPIO pin Output Level */
  HAL_GPIO_WritePin(GPIOA, ADC1_START_Pin|AQIC_PWR_CTL_Pin|CQ24_5_0V_Pin, GPIO_PIN_RESET);

  /*Configure GPIO pin Output Level */
  HAL_GPIO_WritePin(GPIOC, LED_TRIM_Pin|TEST_1_Pin|CQ24_5_7V_Pin, GPIO_PIN_RESET);

  /*Configure GPIO pin Output Level */
  HAL_GPIO_WritePin(GPIOB, VSYNC_IN_Pin|TEST_2_Pin|ADC2_START_Pin, GPIO_PIN_RESET);

  /*Configure GPIO pin Output Level */
  HAL_GPIO_WritePin(GPIOB, ADC1_CS_Pin|CQ24_VCC_EN_Pin, GPIO_PIN_SET);

  /*Configure GPIO pin Output Level */
  HAL_GPIO_WritePin(NSCS1_GPIO_Port, NSCS1_Pin, GPIO_PIN_SET);

  /*Configure GPIO pin Output Level */
  HAL_GPIO_WritePin(GPIOA, NSCS2_Pin|ADC_RESET_Pin, GPIO_PIN_SET);

  /*Configure GPIO pin Output Level */
  HAL_GPIO_WritePin(ADC2_CS_GPIO_Port, ADC2_CS_Pin, GPIO_PIN_SET);

  /*Configure GPIO pins : B1_Pin ADC1_DRDY_Pin */
  GPIO_InitStruct.Pin = B1_Pin|ADC1_DRDY_Pin;
  GPIO_InitStruct.Mode = GPIO_MODE_IT_FALLING;
  GPIO_InitStruct.Pull = GPIO_NOPULL;
  HAL_GPIO_Init(GPIOC, &GPIO_InitStruct);

  /*Configure GPIO pins : ADC1_START_Pin NSCS2_Pin CQ24_5_0V_Pin ADC_RESET_Pin */
  GPIO_InitStruct.Pin = ADC1_START_Pin|NSCS2_Pin|CQ24_5_0V_Pin|ADC_RESET_Pin;
  GPIO_InitStruct.Mode = GPIO_MODE_OUTPUT_PP;
  GPIO_InitStruct.Pull = GPIO_NOPULL;
  GPIO_InitStruct.Speed = GPIO_SPEED_FREQ_LOW;
  HAL_GPIO_Init(GPIOA, &GPIO_InitStruct);

  /*Configure GPIO pin : AQIC_PWR_CTL_Pin */
  GPIO_InitStruct.Pin = AQIC_PWR_CTL_Pin;
  GPIO_InitStruct.Mode = GPIO_MODE_OUTPUT_PP;
  GPIO_InitStruct.Pull = GPIO_PULLDOWN;
  GPIO_InitStruct.Speed = GPIO_SPEED_FREQ_LOW;
  HAL_GPIO_Init(AQIC_PWR_CTL_GPIO_Port, &GPIO_InitStruct);

  /*Configure GPIO pins : LED_TRIM_Pin TEST_1_Pin NSCS1_Pin CQ24_5_7V_Pin */
  GPIO_InitStruct.Pin = LED_TRIM_Pin|TEST_1_Pin|NSCS1_Pin|CQ24_5_7V_Pin;
  GPIO_InitStruct.Mode = GPIO_MODE_OUTPUT_PP;
  GPIO_InitStruct.Pull = GPIO_NOPULL;
  GPIO_InitStruct.Speed = GPIO_SPEED_FREQ_LOW;
  HAL_GPIO_Init(GPIOC, &GPIO_InitStruct);

  /*Configure GPIO pin : ADC2_DRDY_Pin */
  GPIO_InitStruct.Pin = ADC2_DRDY_Pin;
  GPIO_InitStruct.Mode = GPIO_MODE_IT_FALLING;
  GPIO_InitStruct.Pull = GPIO_NOPULL;
  HAL_GPIO_Init(ADC2_DRDY_GPIO_Port, &GPIO_InitStruct);

  /*Configure GPIO pins : VSYNC_IN_Pin ADC1_CS_Pin TEST_2_Pin CQ24_VCC_EN_Pin
                           ADC2_START_Pin */
  GPIO_InitStruct.Pin = VSYNC_IN_Pin|ADC1_CS_Pin|TEST_2_Pin|CQ24_VCC_EN_Pin
                          |ADC2_START_Pin;
  GPIO_InitStruct.Mode = GPIO_MODE_OUTPUT_PP;
  GPIO_InitStruct.Pull = GPIO_NOPULL;
  GPIO_InitStruct.Speed = GPIO_SPEED_FREQ_LOW;
  HAL_GPIO_Init(GPIOB, &GPIO_InitStruct);

  /*Configure GPIO pin : KEY_MODE_Pin */
  GPIO_InitStruct.Pin = KEY_MODE_Pin;
  GPIO_InitStruct.Mode = GPIO_MODE_INPUT;
  GPIO_InitStruct.Pull = GPIO_NOPULL;
  HAL_GPIO_Init(KEY_MODE_GPIO_Port, &GPIO_InitStruct);

  /*Configure GPIO pin : MCLK_Pin */
  GPIO_InitStruct.Pin = MCLK_Pin;
  GPIO_InitStruct.Mode = GPIO_MODE_AF_PP;
  GPIO_InitStruct.Pull = GPIO_NOPULL;
  GPIO_InitStruct.Speed = GPIO_SPEED_FREQ_LOW;
  GPIO_InitStruct.Alternate = GPIO_AF0_MCO;
  HAL_GPIO_Init(MCLK_GPIO_Port, &GPIO_InitStruct);

  /*Configure GPIO pin : KEY_RUN_Pin */
  GPIO_InitStruct.Pin = KEY_RUN_Pin;
  GPIO_InitStruct.Mode = GPIO_MODE_INPUT;
  GPIO_InitStruct.Pull = GPIO_NOPULL;
  HAL_GPIO_Init(KEY_RUN_GPIO_Port, &GPIO_InitStruct);

  /*Configure GPIO pin : ADC2_CS_Pin */
  GPIO_InitStruct.Pin = ADC2_CS_Pin;
  GPIO_InitStruct.Mode = GPIO_MODE_OUTPUT_PP;
  GPIO_InitStruct.Pull = GPIO_NOPULL;
  GPIO_InitStruct.Speed = GPIO_SPEED_FREQ_LOW;
  HAL_GPIO_Init(ADC2_CS_GPIO_Port, &GPIO_InitStruct);

  /* EXTI interrupt init*/
  HAL_NVIC_SetPriority(EXTI1_IRQn, 5, 0);
  HAL_NVIC_EnableIRQ(EXTI1_IRQn);

  HAL_NVIC_SetPriority(EXTI4_IRQn, 5, 0);
  HAL_NVIC_EnableIRQ(EXTI4_IRQn);

  HAL_NVIC_SetPriority(EXTI15_10_IRQn, 5, 0);
  HAL_NVIC_EnableIRQ(EXTI15_10_IRQn);

}

/* USER CODE BEGIN 4 */
void HAL_UART_RxCpltCallback(UART_HandleTypeDef *huart)
{
    if (huart->Instance == USART2)
    {
        HAL_UART_Transmit(huart, gn_debug_rx_data, 1, 5);

        if((gn_debug_rx_data[0] == '\n') || (gn_debug_rx_data[0] == '\r'))
        {
            BaseType_t xHigherPriorityTaskWoken = pdFALSE;
            gt_uart_queue[gn_uart_msg_queue_index].param[gt_uart_queue[gn_uart_msg_queue_index].len] = 0;

            gp_uart_queue = gt_uart_queue + gn_uart_msg_queue_index;

            xQueueSendFromISR(xQueue, &gp_uart_queue, &xHigherPriorityTaskWoken);
            /* Now the buffer is empty we can switch context if necessary. */
            if( xHigherPriorityTaskWoken )
            {
                /* Actual macro used here is port specific. */
                portYIELD();
            }

            ++gn_uart_msg_queue_index;
            if(gn_uart_msg_queue_index == 16)
            {
                gn_uart_msg_queue_index = 0;
            }
        }
        else if(gn_debug_rx_data[0] == 0x08)
        {
            if(gt_uart_queue[gn_uart_msg_queue_index].len)
            {
                uint8_t temp[2] = {' ', 0x08 };

                --gt_uart_queue[gn_uart_msg_queue_index].len;
                HAL_UART_Transmit(huart, temp, 2, 5);
            }
        }
        else
        {
            gt_uart_queue[gn_uart_msg_queue_index].param[gt_uart_queue[gn_uart_msg_queue_index].len] = gn_debug_rx_data[0];
            ++gt_uart_queue[gn_uart_msg_queue_index].len;
        }
        HAL_UART_Receive_IT(&huart2, gn_debug_rx_data, 1);
    }
}

void GUI_Reset_test_state()
{
    gn_cqic_test_type ^= 0x01; //TRIMMING MODE
    gt_power_state ^= 0x01;
}

/* USER CODE END 4 */

void JigTaskMainTask(void const * argument)
{
  /* USER CODE BEGIN 5 */

    print("\r\n Start JigTaskMainTask Task\r\n");

  /* Infinite loop */
  for(;;)
  {
    osDelay(1);

    if(gt_power_state == PWR_ON) 	/*  power on */
    {
        test_procedure_run();
    }
  }
  /* USER CODE END 5 */
}

void KeyDetector(void const * argument)
{
  /* USER CODE BEGIN KeyDetector */
    uint16_t key_event=KEY_NONE;

#if (osCMSIS < 0x20000U)
    TickType_t xLastWakeTime;
    const TickType_t xFrequency = 20;
#endif
    GPIO_PinState key_state;

    volatile GPIO_PinState key_mode_state = GPIO_PIN_SET;
    volatile GPIO_PinState key_test_start_state = GPIO_PIN_SET;
    volatile GPIO_PinState key_b1_state = GPIO_PIN_SET;

    print("\n\r Start KeyDeterctor Task");

    /* Infinite loop */
    for(;;)
    {
#if (osCMSIS < 0x20000U)
        osDelayUntil(&xLastWakeTime, xFrequency);
#else
        osDelayUntil(20);
#endif

        key_state = HAL_GPIO_ReadPin(KEY_MODE_GPIO_Port, KEY_MODE_Pin);
        if(key_mode_state != key_state)
        {
            if(key_state == GPIO_PIN_SET)
            {
                key_event = KEY_MODE_UP;
                PlayBeep(KEY_PUSH_RELEASE_BEEP, KEY_BEEP_TIME);
#if (osCMSIS < 0x20000U)
                osMessagePut(queue_key_eventHandle, key_event, 0U);
#else
                osMessageQueuePut(queue_key_eventHandle, &key_event, 0U, 0U);
#endif
            }
            key_mode_state = key_state;
        }

        key_state = HAL_GPIO_ReadPin(KEY_RUN_GPIO_Port, KEY_RUN_Pin);
        if(key_test_start_state != key_state)
        {
            if(key_state == GPIO_PIN_SET)
            {
#if 1
                key_event = KEY_RUN_UP;
                PlayBeep(KEY_PUSH_RELEASE_BEEP, KEY_BEEP_TIME);
#if (osCMSIS < 0x20000U)
                osMessagePut(queue_key_eventHandle, key_event, 0U);
#else
                osMessageQueuePut(queue_key_eventHandle, &key_event, 0U, 0U);
#endif
#else
                print("\r\n-CQIC_ACTIVATE_AND_START-\r\n");
#endif
            }
            key_test_start_state = key_state;
        }

        key_state = HAL_GPIO_ReadPin(B1_GPIO_Port, B1_Pin);
        if(key_b1_state != key_state)
        {
            if(key_state == GPIO_PIN_SET)
            {
                key_event = KEY_B1_UP;
                PlayBeep(KEY_PUSH_RELEASE_BEEP, KEY_BEEP_TIME);
#if (osCMSIS < 0x20000U)
                osMessagePut(queue_key_eventHandle, key_event, 0U);
#else
                osMessageQueuePut(queue_key_eventHandle, &key_event, 0U, 0U);
#endif
            }
            key_b1_state = key_state;
        }
    }
  /* USER CODE END KeyDeterctor */
}

void KeyHandler(void const * argument)
{
  /* USER CODE BEGIN KeyHandler */
#if (osCMSIS < 0x20000U)
    osEvent event;
#else
    osStatus_t status;
#endif
    uint16_t key_event = 0;

    print("\r\n Start KeyHandler Task\r\n");

    /* Infinite loop */
    for(;;)
    {
#if (osCMSIS < 0x20000U)
        event = osMessageGet(queue_key_eventHandle, osWaitForever);   // wait for message
        if(event.status == osEventMessage)
        {
            key_event = (uint16_t)event.value.v;
#else
        status = osMessageQueueGet(queue_key_eventHandle, &key_event, NULL, osWaitForever);   // wait for message
        if (status == osOK)
        {
#endif
            switch(key_event)
            {
            	case KEY_MODE_UP:
					if(gt_cqic_test_step == TEST_STEP_NONE)
					{
						// gn_cqic_test_type ^= 0x01;

						// snprintf(msg_buffer, sizeof msg_buffer, "\n\r CQIC TEST MODE [%s]\n\r",(gn_cqic_test_type == 1 ? "TRIMMING" : "FUNCTIONAL"));
						// print(msg_buffer);

						print("\r\n-CQIC_ACTIVATE_AND_START-\r\n");
					}
					break;
				case KEY_RUN_UP:
					//if(gt_cqic_test_step == TEST_STEP_NONE)
					{
						gt_power_state ^= 0x01;
						set_ok_led(gt_power_state);

						//snprintf(msg_buffer, sizeof msg_buffer, "POWER STATE [%s]\n\r",(gt_power_state == 1 ? "ON" : "OFF"));
						//print(msg_buffer);

                        if(gt_power_state)
                        {
                            gt_cqic_test_step = MODE_TEST_START;
                        }
                        else
                        {
                            set_cqic_5_0V_off();
                            set_cqic_power_off();
                            HAL_TIM_Base_Stop_IT(&htim2);
                            HAL_GPIO_WritePin(NSCS1_GPIO_Port, NSCS1_Pin, GPIO_PIN_RESET);
                            uint16_t mosi_temp = 0x00;
                            spi_write(&mosi_temp, 1);
                        }

						if(gt_power_state==0)
                        {
                            print("\n\r POWER STATE OFF \n\r");
// jun
#if 1
                            GPIO_InitTypeDef GPIO_InitStruct = {0};

                            GPIO_InitStruct.Pin = MCLK_Pin;
                            GPIO_InitStruct.Mode = GPIO_MODE_OUTPUT_PP;
                            GPIO_InitStruct.Pull = GPIO_PULLDOWN;
                            GPIO_InitStruct.Speed = GPIO_SPEED_FREQ_MEDIUM;
                            GPIO_InitStruct.Alternate = GPIO_AF0_MCO;
                            HAL_GPIO_Init(MCLK_GPIO_Port, &GPIO_InitStruct);

                            HAL_GPIO_WritePin(NSCS1_GPIO_Port, NSCS1_Pin, GPIO_PIN_RESET);
#endif
                        }
					}
					break;
				case KEY_B1_UP:
					//if((gt_cqic_test_step == TEST_STEP_NONE) && (gt_power_state == PWR_OFF))
					if(gt_power_state == PWR_OFF)
					{
						if(gn_cqic_test_type == 1)	//trimming test mode
						{
#if 1
							if(trimming_stage==0)
							{
								trimming_stage = 1;
								gt_cqic_test_step = TRIMMING_STEP05_00;	// mode test
								snprintf(msg_buffer, sizeof msg_buffer, "TRIMMING STEP - 1 = MODE 2.5V stage(%d) step(%d)",trimming_stage, gt_cqic_test_step );
							}
							else if(trimming_stage == 1)
							{
								trimming_stage = 2;
								gt_cqic_test_step = TRIMMING_STEP00_00; // LDO 4.5V trimming mode
								snprintf(msg_buffer, sizeof msg_buffer, "TRIMMING STEP - 2 = VREFO 4.5V stage(%d) step(%d)", trimming_stage, gt_cqic_test_step);
							}
							else if(trimming_stage == 2)
							{
								trimming_stage = 3;
								gt_cqic_test_step = TRIMMING_STEP02_00; // DAC 4.5V trimming mode
								snprintf(msg_buffer, sizeof msg_buffer, "TRIMMING STEP - 3 = 12BIT V_REF OFFSET(Delta) stage(%d) step(%d)", trimming_stage, gt_cqic_test_step);
							}
							else if(trimming_stage == 3)
							{
								trimming_stage = 4;
								gt_cqic_test_step = TRIMMING_STEP03_00; // DAC 4.5V trimming mode
								snprintf(msg_buffer, sizeof msg_buffer, "TRIMMING STEP - 4 = 12BIT DAC OFFSET stage(%d) step(%d)", trimming_stage, gt_cqic_test_step);
							}
							else if(trimming_stage == 4)
							{
								trimming_stage = 5;
								gt_cqic_test_step = TRIMMING_STEP04_00; // DAC 4.5V trimming mode
								snprintf(msg_buffer, sizeof msg_buffer, "TRIMMING STEP - 5 = SLOP [12BIT DAC 0~4095 stage(%d) step(%d)]", trimming_stage, gt_cqic_test_step);
							}
 							else if(trimming_stage == 5)
							{
								trimming_stage = 0;
								gt_cqic_test_step = TRIMMING_STEP_OTP_WRITE; // OTP WRITE MODE
								snprintf(msg_buffer, sizeof msg_buffer, "TRIMMING STEP - 6 = OTP WRITE state(%d), step(%d)", trimming_stage, gt_cqic_test_step);
							}

							print(msg_buffer);
              print("\r\n");
#else
							if(trimming_stage == 0)
							{
								trimming_stage = 1;
								gt_cqic_test_step = TRIMMING_STEP00_00;		// LDO 1.5V trimming mode
								snprintf(msg_buffer, sizeof msg_buffer, "\n\r TRIMMING STEP = REF LDO 1.57V stage(%d) step(%d)", trimming_stage, gt_cqic_test_step);
							}
							else if(trimming_stage == 1)
							{
								trimming_stage = 2;
								gt_cqic_test_step = TRIMMING_STEP01_10;// LDO 1.50V trimming mode
								snprintf(msg_buffer, sizeof msg_buffer, "\n\r TRIMMING STEP = REF LDO 1.50V stage(%d) step(%d)", trimming_stage, gt_cqic_test_step);
							}

							else if(trimming_stage == 2)
							{
								trimming_stage = 3;
								gt_cqic_test_step = TRIMMING_STEP12_00;// DAC 4.5V trimming mode
								snprintf(msg_buffer, sizeof msg_buffer, "\n\r TRIMMING STEP = 10BIT DAC Linear stage(%d) step(%d)", trimming_stage, gt_cqic_test_step);
							}

							else if(trimming_stage == 3)
							{
								trimming_stage = 4;
								gt_cqic_test_step = TRIMMING_STEP02_00;// DAC 4.5V trimming mode
								snprintf(msg_buffer, sizeof msg_buffer, "\n\r TRIMMING STEP = 10BIT DAC Delta stage(%d) step(%d)", trimming_stage, gt_cqic_test_step);
							}
							else if(trimming_stage == 4)
							{
								trimming_stage = 5;
								gt_cqic_test_step = TRIMMING_STEP03_00;// DAC 4.5V trimming mode
								snprintf(msg_buffer, sizeof msg_buffer, "\n\r TRIMMING STEP = 12BIT DAC Linear stage(%d) step(%d)", trimming_stage, gt_cqic_test_step);
							}
							else if(trimming_stage == 5)
							{
								trimming_stage = 6;
								gt_cqic_test_step = TRIMMING_STEP04_00;// DAC 4.5V trimming mode
								snprintf(msg_buffer, sizeof msg_buffer, "\n\r TRIMMING STEP = SLOP [12BIT DAC 0~4095 stage(%d) step(%d)]", trimming_stage, gt_cqic_test_step);
							}
							else if(trimming_stage==6)
							{
								trimming_stage = 7;
								gt_cqic_test_step = TRIMMING_STEP05_00;	// mode test
								snprintf(msg_buffer, sizeof msg_buffer, "\n\r TRIMMING STEP = MODE");
							}
 							else if(trimming_stage == 7)
							{
								trimming_stage = 0;
								gt_cqic_test_step = TRIMMING_STEP_OTP_WRITE;  // OTP WRITE MODE
								snprintf(msg_buffer, sizeof msg_buffer, "\n\r OTP WRITE state(%d), step(%d)", trimming_stage, gt_cqic_test_step);
							}
							print(msg_buffer);
#endif
						}
						else	//funtional test mode
						{
#if 0
							if(++cqic_test_mode > 5)
								cqic_test_mode = 0;
#else
							cqic_test_mode = 0;
							gt_cqic_test_step = MODE_TEST_START;
#endif
							snprintf(msg_buffer, sizeof msg_buffer, "\n\r cqic functional test mode [%d]", cqic_test_mode);
							print(msg_buffer);
						}
					}
					break;

                default: /* unknown key event */
                    break;
            }
        }
    }
  /* USER CODE END KeyHandler */
}

void TaskDebugUart(void const * argument)
{
  /* USER CODE BEGIN TaskDebugUart */
    MessageQ *pMsgQ = NULL;

    char str_in[UART_CMD_LENGTH+1] = {0, };
    uint32_t recv_param = 0;
    float f_voltage = 0.0f;
    float f_pwm_voltage = 0.0f;
    uint32_t recv_reg_addr = 0;
    uint32_t recv_reg_val = 0;

	cqic_cmd1_type cmd1 = {0, };
    cqic_cmd2_type cmd2 = {0, };

    print("Start TaskDebugUart Task\r\n");

  /* Infinite loop */
  for(;;)
  {
    if(xQueueReceive(xQueue, &pMsgQ, (TickType_t)portMAX_DELAY) == pdPASS)
    {
        if(UART_CMD_LENGTH < pMsgQ->len)
        {
            pMsgQ->len = pMsgQ->len;
        }

        memcpy(str_in, pMsgQ->param, pMsgQ->len);
        pMsgQ->len = 0;

        if((!(strcmp(str_in, "help"))) || (!(strcmp(str_in, "?"))))
        {
        }
        else if(!(strcmp(str_in, "info")))
        {
        }
        else if(strncmp(str_in, CMD_GUI_RESET, strlen(CMD_GUI_RESET)) == 0)
        {
            print("CMD_GUI_RESET\r\n");
            NVIC_SystemReset();
        }
        else if(strncmp(str_in, CMD_GUI_ACTIVATE, strlen(CMD_GUI_ACTIVATE)) == 0)
        {
            gt_cqic_test_init();
        }
        else if(strncmp(str_in, CMD_GUI_READ_REGISTER_ALL, strlen(CMD_GUI_READ_REGISTER_ALL)) == 0)
        {
            GUI_SEND_reg_all();
        }
        else if(sscanf(str_in, "ui:1wreg %x %x", &recv_reg_addr, &recv_reg_val) == 2)
        {
            GUI_write_reg_cmd1(recv_reg_addr, recv_reg_val);
        }
        else if(sscanf(str_in, "ui:2wreg %x %x", &recv_reg_addr, &recv_reg_val) == 2)
        {
            GUI_write_reg_cmd2(recv_reg_addr, recv_reg_val);
        }
        else if(sscanf(str_in, "ui:2wreg %x %x", &recv_reg_addr, &recv_reg_val) == 2)
        {
            GUI_write_reg_cmd2(recv_reg_addr, recv_reg_val);
        }
        else if(sscanf(str_in, "ui:din %u", &gb_NO_TRIM) == 1)
        {
            snprintf(msg_buffer, sizeof msg_buffer, "\r\n gb_NO_TRIM:%d\r\n ", gb_NO_TRIM);
            print(msg_buffer);
        }
        else if(sscanf(str_in, "ui:ctrim1 %f %f %f %f", &gf_MODE_DAC_Target, &gf_MODE_DAC_Step, &gf_VREFP_Target, &gf_VREFP_Step) == 4)
        {
            snprintf(msg_buffer, sizeof msg_buffer, "\r\n gf_MODE_DAC_Target:%f \r\n gf_MODE_DAC_Step:%f \r\n gf_VREFP_Target:%f \r\n gf_VREFP_Step:%f ",
                      gf_MODE_DAC_Target, gf_MODE_DAC_Step, gf_VREFP_Target, gf_VREFP_Step);
            print(msg_buffer);
        }
        else if(sscanf(str_in, "ui:ctrim2 %u %f %u %u %f", &gui_GAIN_DAC_DAC_Input, &gf_GAIN_DAC_Step, &gui_GAIN_DAC_vHigh, &gui_GAIN_DAC_vLow, &gf_GAIN_DAC_Delta) == 5)
        {
            snprintf(msg_buffer, sizeof msg_buffer, "\r\n gui_GAIN_DAC_DAC_Input:%d \r\n gf_GAIN_DAC_Step:%f \r\n gui_GAIN_DAC_vHigh:%d \r\n gui_GAIN_DAC_vLow:%d \r\n gf_GAIN_DAC_Delta:%f\r\n",
                      gui_GAIN_DAC_DAC_Input, gf_GAIN_DAC_Step, gui_GAIN_DAC_vHigh, gui_GAIN_DAC_vLow, gf_GAIN_DAC_Delta);
            print(msg_buffer);
        }
        else if(sscanf(str_in, "ui:ctrim3 %u %f %u %f", &gui_DATA_DAC_DAC_Input, &gf_DATA_DAC_Step, &gui_DATA_DAC_Target_Offset_DAC, &gf_DATA_DAC_Voltage) == 4)
        {
            snprintf(msg_buffer, sizeof msg_buffer, "\r\n gui_DATA_DAC_DAC_Input:%d \r\n gf_DATA_DAC_Step:%f \r\n gui_DATA_DAC_Target_Offset_DAC:%d \r\n gf_DATA_DAC_Voltage:%f \r\n",
                      gui_DATA_DAC_DAC_Input, gf_DATA_DAC_Step, gui_DATA_DAC_Target_Offset_DAC, gf_DATA_DAC_Voltage);
            print(msg_buffer);
        }
        else if(sscanf(str_in, "ui:cslop %d %d %d %d", &gui_SLOPE_GAIN_DAC_INPUT, &gui_TRIM_RANGE_MIN, &gui_TRIM_RANGE_MAX, &gb_OTP_WRITE) == 4)
        {
            snprintf(msg_buffer, sizeof msg_buffer, "\r\n gui_SLOPE_GAIN_DAC_INPUT:%d gui_TRIM_RANGE_MIN:%d gui_TRIM_RANGE_MAX:%d gb_OTP_WRITE:%d\r\n",
                                                      gui_SLOPE_GAIN_DAC_INPUT, gui_TRIM_RANGE_MIN, gui_TRIM_RANGE_MAX, gb_OTP_WRITE);
            print(msg_buffer);
        }
        else if(sscanf(str_in, "ui:gtrim %d", &gui_TRIM_regi_changed) == 1)
        {
            snprintf(msg_buffer, sizeof msg_buffer, "\r\n gui_TRIM_regi_changed:%d \r\n", gui_TRIM_regi_changed);
            print(msg_buffer);

            if(gb_NO_TRIM == TRUE)
            {
                gt_cqic_test_step = TRIMMING_STEP04_00;
            }
            else
            {
                gt_cqic_test_step = TRIMMING_STEP05_00;
            }

            gn_cqic_test_type ^= 0x01; //TRIMMING MODE
            gt_power_state ^= 0x01;
        }
        else if(!(strcmp(str_in, "cq_r_all")))
        {
            cqic_reg_read_all();
            print("\n\rOK \0");
        }
        else if(!(strcmp(str_in, "cq_reset")))
        {
            cmd1.u.cmd_id = CMD_01;
            cmd1.u.rw = SPI_WR;
            cmd1.u.addr = 0x00;
            cmd1.u.data = 0x001;
            cqic_write(CQIC_1, &cmd1.value, 1);
            HAL_Delay(10);

            cmd1.u.cmd_id = CMD_01;
            cmd1.u.rw = SPI_WR;
            cmd1.u.addr = 0x00;
            cmd1.u.data = 0x000;
            cqic_write(CQIC_1, &cmd1.value, 1);
            HAL_Delay(3);
            print("\n\rOK \0");
        }
        else if(!(strcmp(str_in, "cq_otp_disable")))
        {
            cmd2.u.cmd_id	= CMD_02;
            cmd2.u.rw		= SPI_WR;
            cmd2.u.addr 	= OTP_PROTECTION;
            cmd2.u.data 	= 0xA5A5;
            cqic_write(CQIC_1, cmd2.value, 2);
            HAL_Delay(1);
            print("\n\rOK \0");
        }
        else if(sscanf(str_in, "vref %d", &recv_param) == 1)
        {
            cmd2.u.cmd_id	= CMD_02;
        	cmd2.u.addr 	= V_ANA_GAIN;
            cmd2.u.rw		= SPI_WR;
            cmd2.u.data 	= recv_param;
            cqic_write(CQIC_1, cmd2.value, 2);	/* set channel output enable */
            HAL_Delay(1);
            print("\n\rOK \0");
        }
        else if(sscanf(str_in, "cq_w1 %x %x", &recv_reg_addr, &recv_reg_val) == 2)
        {
            gn_cq_write_target_cmd1_addr = recv_reg_addr;
            gn_cq_write_target_cmd1_data = recv_reg_val;
            gb_cq_write_cmd1_flag = true;
            print("\n\rOK \0");
        }
        else if(sscanf(str_in, "cq_w2 %x %x", &recv_reg_addr, &recv_reg_val) == 2)
        {
            gn_cq_write_target_cmd2_addr = recv_reg_addr;
            gn_cq_write_target_cmd2_data = recv_reg_val;
            gb_cq_write_cmd2_flag = true;
            print("\n\rOK \0");
        }
        else if(sscanf(str_in, "cq_r %x", &recv_reg_addr) == 1)
        {
            gn_cq_read_target_addr = recv_reg_addr;
            gb_cq_read_flag = true;
            print("\n\rOK \0");
        }
        else if(!(strcmp(str_in, "duty")))
        {
            uint16_t* p_duty_addr = get_duty_addr();
            snprintf(msg_buffer, sizeof msg_buffer, "\r\n duty - 0x%02X", ((*(p_duty_addr + 1)) & 0xFF));
            print(msg_buffer);
            print("\n\rOK \0");
        }
        else if(sscanf(str_in, "duty %x", &recv_param) == 1)
        {
            uint16_t* p_duty_addr = get_duty_addr();
            for (uint16_t i = 0 ; i < CQ_DUTY_SIZE ; ++i)
            {
                *(p_duty_addr + i + 1) = (recv_param << 8 | recv_param);
            }
            #if 0
                for (uint16_t i = 0 ; i < 10 ; ++i)
                {
                    *(p_duty_addr + i + 1 +  50) = 0;
                    *(p_duty_addr + i + 1 + 110) = 0;
                }
            #endif
            print("\n\rOK \0");
        }
        else if(!(strcmp(str_in, "ldim")))
        {
            uint16_t* p_pwm_addr = get_ldim_addr();
            snprintf(msg_buffer, sizeof msg_buffer, "\r\n ldim - 0x%04X", *(p_pwm_addr + 1));
            print(msg_buffer);
            print("\n\rOK \0");
        }
        else if(sscanf(str_in, "ldim %x", &recv_param) == 1)
        {
            uint16_t* p_pwm_addr = get_ldim_addr();
            for (uint16_t i = 0 ; i < CQ_LDIM_SIZE ; ++i)
            {
                *(p_pwm_addr + i) = recv_param;
            }
            print("\n\rOK \0");
        }
// jun
        else if(sscanf(str_in, "cq_vcc %d", &recv_param) == 1)
        {
            if (recv_param)
            {
                set_cqic_5_0V_on();
                set_cqic_power_on();
                //HAL_Delay(vcc_delay);
                /* MCLK on, CS on */
                GPIO_InitTypeDef GPIO_InitStruct = {0, };
                GPIO_InitStruct.Pin = MCLK_Pin;
                GPIO_InitStruct.Mode = GPIO_MODE_AF_PP;
                GPIO_InitStruct.Pull = GPIO_NOPULL;
                GPIO_InitStruct.Speed = GPIO_SPEED_FREQ_MEDIUM;
                GPIO_InitStruct.Alternate = GPIO_AF0_MCO;
                HAL_GPIO_Init(MCLK_GPIO_Port, &GPIO_InitStruct);
                HAL_GPIO_WritePin(NSCS1_GPIO_Port, NSCS1_Pin, GPIO_PIN_SET);
                HAL_Delay(3);
#if 0
                /* MCLK off, CS off */
                GPIO_InitStruct.Pin = MCLK_Pin;
                GPIO_InitStruct.Mode = GPIO_MODE_OUTPUT_PP;
                GPIO_InitStruct.Pull = GPIO_PULLDOWN;
                GPIO_InitStruct.Speed = GPIO_SPEED_FREQ_MEDIUM;
                GPIO_InitStruct.Alternate = GPIO_AF0_MCO;
                HAL_GPIO_Init(MCLK_GPIO_Port, &GPIO_InitStruct);
                HAL_GPIO_WritePin(NSCS1_GPIO_Port, NSCS1_Pin, GPIO_PIN_RESET);
                HAL_Delay(6);
#endif
                /* MCLK on, CS on */
                GPIO_InitStruct.Pin = MCLK_Pin;
                GPIO_InitStruct.Mode = GPIO_MODE_AF_PP;
                GPIO_InitStruct.Pull = GPIO_NOPULL;
                GPIO_InitStruct.Speed = GPIO_SPEED_FREQ_MEDIUM;
                GPIO_InitStruct.Alternate = GPIO_AF0_MCO;
                HAL_GPIO_Init(MCLK_GPIO_Port, &GPIO_InitStruct);
                HAL_GPIO_WritePin(NSCS1_GPIO_Port, NSCS1_Pin, GPIO_PIN_SET);
            }
            else
            {
                set_cqic_5_0V_off();
                set_cqic_power_off();

                GPIO_InitTypeDef GPIO_InitStruct = {0, };
                GPIO_InitStruct.Pin = MCLK_Pin;
                GPIO_InitStruct.Mode = GPIO_MODE_OUTPUT_PP;
                GPIO_InitStruct.Pull = GPIO_PULLDOWN;
                GPIO_InitStruct.Speed = GPIO_SPEED_FREQ_MEDIUM;
                GPIO_InitStruct.Alternate = GPIO_AF0_MCO;
                HAL_GPIO_Init(MCLK_GPIO_Port, &GPIO_InitStruct);
                HAL_GPIO_WritePin(NSCS1_GPIO_Port, NSCS1_Pin, GPIO_PIN_RESET);
            }
            print("\n\rOK \0");
        }
        else if(sscanf(str_in, "cq_mclk %d", &recv_param) == 1)
        {
            if (recv_param)
            {
                GPIO_InitTypeDef GPIO_InitStruct = {0, };
                GPIO_InitStruct.Pin = MCLK_Pin;
                GPIO_InitStruct.Mode = GPIO_MODE_AF_PP;
                GPIO_InitStruct.Pull = GPIO_NOPULL;
                GPIO_InitStruct.Speed = GPIO_SPEED_FREQ_MEDIUM;
                GPIO_InitStruct.Alternate = GPIO_AF0_MCO;
                HAL_GPIO_Init(MCLK_GPIO_Port, &GPIO_InitStruct);
            }
            else
            {
                GPIO_InitTypeDef GPIO_InitStruct = {0, };
                GPIO_InitStruct.Pin = MCLK_Pin;
                GPIO_InitStruct.Mode = GPIO_MODE_OUTPUT_PP;
                GPIO_InitStruct.Pull = GPIO_PULLDOWN;
                GPIO_InitStruct.Speed = GPIO_SPEED_FREQ_MEDIUM;
                GPIO_InitStruct.Alternate = GPIO_AF0_MCO;
                HAL_GPIO_Init(MCLK_GPIO_Port, &GPIO_InitStruct);
            }
            print("\n\rOK \0");
        }
        else if(!(strcmp(str_in, "cq_soft_reset")))
        {
            cmd1.u.cmd_id = CMD_01;
            cmd1.u.rw = SPI_WR;
            cmd1.u.addr = 0x00;
            cmd1.u.data = 0x001;
            cqic_write(CQIC_1, &cmd1.value, 1);

            cmd1.u.cmd_id = CMD_01;
            cmd1.u.rw = SPI_WR;
            cmd1.u.addr = 0x00;
            cmd1.u.data = 0x000;
            cqic_write(CQIC_1, &cmd1.value, 1);
            print("\n\rOK \0");
        }
        else if(!(strcmp(str_in, "cq_dump_otp")))
        {
            cmd2.u.cmd_id	= CMD_02;
            cmd2.u.rw		= SPI_WR;
            cmd2.u.addr 	= OTP_PROTECTION;
            cmd2.u.data 	= 0xA5A5;
            cqic_write(CQIC_1, cmd2.value, 2);	/* set channel output enable */

            cmd2.u.cmd_id	= CMD_02;
            cmd2.u.rw		= SPI_WR;
            cmd2.u.addr 	= OTP_RD_PG_CONTROL;
            cmd2.u.data 	= 0x02;
            cqic_write(CQIC_1, cmd2.value, 2);	/* set channel output enable */
            print("\n\rOK \0");
        }
        else
        {
            print("\n\rWhat? \0");
        }

        memset(str_in, 0x00, sizeof(str_in));
    }
  }
  /* USER CODE END TaskDebugUart */
}

/* TimerCallback function */
void TimerCallback(void const * argument)
{
    /* USER CODE BEGIN TimerCallback */
    //snprintf(msg_buffer, sizeof msg_buffer, "===> TimerCallback()... %u %u %u \r\n", gt_beep_info.t_beep_type, gt_beep_info.t_play_step, gt_beep_info.n_beep_count);
    //print(msg_buffer);

    osTimerStop(BeepPlayTimerHandle);

    if(gt_beep_info.t_play_step == BEEP_START)
    {
        gt_beep_info.t_play_step = BEEP_PLAYING;

        osTimerStart(BeepPlayTimerHandle, gt_beep_info.n_beep_count);

        __HAL_TIM_SET_AUTORELOAD(&htim12, gn_beep_freq_tim12_period[gt_beep_info.t_beep_type]);
        __HAL_TIM_SET_COMPARE(&htim12, TIM_CHANNEL_2, gn_beep_freq_tim12_period[gt_beep_info.t_beep_type] >> 1);
        HAL_TIM_PWM_Start(&htim12, TIM_CHANNEL_2);
    }
    else if(gt_beep_info.t_play_step == BEEP_PLAYING)
    {
        HAL_TIM_PWM_Stop(&htim12, TIM_CHANNEL_2);
        gt_beep_info.t_play_step = BEEP_STOP;
    }
    else if(gt_beep_info.t_play_step == BEEP_NG_START)
    {
        gt_beep_info.t_play_step = BEEP_NG_PLAYING;
        gt_beep_info.n_beep_count -= NG_BEEP_TIME;

        osTimerStart(BeepPlayTimerHandle, NG_BEEP_TIME);

        __HAL_TIM_SET_AUTORELOAD(&htim12, gn_beep_freq_tim12_period[gt_beep_info.t_beep_type]);
        __HAL_TIM_SET_COMPARE(&htim12, TIM_CHANNEL_2, gn_beep_freq_tim12_period[gt_beep_info.t_beep_type] >> 1);
        HAL_TIM_PWM_Start(&htim12, TIM_CHANNEL_2);
    }
    else if(gt_beep_info.t_play_step == BEEP_NG_PLAYING)
    {
        HAL_TIM_PWM_Stop(&htim12, TIM_CHANNEL_2);

        if(gt_beep_info.n_beep_count > NG_BEEP_TIME)
        {
            gt_beep_info.n_beep_count -= NG_BEEP_TIME;
            gt_beep_info.t_play_step = BEEP_NG_START;

            osTimerStart(BeepPlayTimerHandle, NG_BEEP_TIME);
        }
        else
        {
            gt_beep_info.t_play_step = BEEP_STOP;
        }
    }
    /* USER CODE END TimerCallback */
}

void HAL_TIM_PeriodElapsedCallback(TIM_HandleTypeDef *htim)
{
    if (htim->Instance == TIM1)
    {
        HAL_IncTick();
    }
    /* USER CODE BEGIN Callback 1 */
    if(htim->Instance == TIM2)
    {
        GT_TIM2_Callback();
    }
    if(htim->Instance == TIM5)
    {
        GT_TIM5_Callback();
    }
  /* USER CODE END Callback 1 */
}

void Error_Handler(void)
{
  __disable_irq();
  while (1)
  {
  }
}
